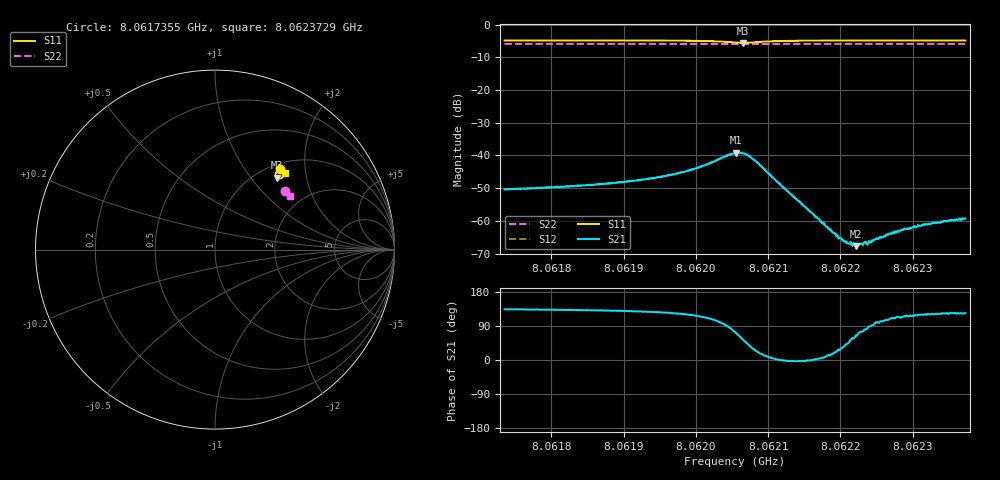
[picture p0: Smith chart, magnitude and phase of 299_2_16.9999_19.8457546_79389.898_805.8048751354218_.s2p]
#  HZ  S  RI  R  50.00
! Rohde & Schwarz Vector Network Analyzer
! Rohde-Schwarz,ZNB20-2Port,1311601062101988,3.16
! Created: UTC 3/20/2024, 11:05:26 PM
! freq[Hz]  re:S11  im:S11  re:S21  im:S21  re:S12  im:S12  re:S22  im:S22
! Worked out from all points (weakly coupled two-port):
!   401 points, 8.0617355 GHz to 8.0623729 GHz, reference 50 ohm
!   highest |S21| = -39.10 dB at 8.0620558 GHz (marker M1); lowest = -67.8 dB at 8.0622215 GHz (marker M2)
!   lowest |S11| = -5.5 dB at 8.0620654 GHz (marker M3), VSWR 3.25, Z = 61 + j68 ohm
!   |S11| at or under -10 dB: nowhere
!   |S22| runs from -5.9 to -5.8 dB; largest |S21 - S12| = 0.00082
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8.06173549e9  0.3603 0.4492  -0.00209 0.00219  -0.00201 0.00231  0.3923 0.3276
8.06184226e9  0.3678 0.4428  -0.00229 0.0026  -0.00218 0.00273  0.3963 0.3222
8.06189803e9  0.372 0.4385  -0.00246 0.00301  -0.00234 0.00317  0.3984 0.3195
8.06194903e9  0.3763 0.4332  -0.00276 0.00376  -0.00255 0.00398  0.4002 0.3168
8.06200002e9  0.3808 0.4226  -0.00287 0.00565  -0.00255 0.00587  0.4021 0.3138
8.0620542e9  0.36 0.3958  0.003 0.0105  0.00374 0.0105  0.4026 0.3103
8.0620558e9  0.3579 0.3959  0.00372 0.0104  0.0042 0.0102  0.4027 0.3103
8.06206536e9  0.3449 0.4014  0.00634 0.0087  0.00698 0.00841  0.4025 0.3103
8.06207333e9  0.3386 0.4113  0.00767 0.00623  0.00818 0.00575  0.4025 0.3106
8.06208448e9  0.339 0.4251  0.00733 0.00304  0.00748 0.00255  0.4031 0.3107
8.06212113e9  0.3573 0.4394  0.00324 -7.55e-05  0.00325 -0.000239  0.4055 0.3093
8.06216097e9  0.3681 0.4383  0.00131 5.5e-06  0.00135 -8.7e-05  0.4073 0.3072
8.06220081e9  0.3742 0.4357  0.00047 0.000276  0.000481 0.000227  0.4087 0.3052
8.06220719e9  0.3749 0.4353  0.000354 0.000314  0.000391 0.000257  0.409 0.3048
8.06221356e9  0.3756 0.4348  0.00027 0.000351  0.000343 0.000353  0.4092 0.3044
8.06222153e9  0.3765 0.4343  0.000173 0.000371  0.000223 0.000394  0.4096 0.3041
8.0622279e9  0.3771 0.4339  0.000119 0.000431  0.000171 0.00042  0.4099 0.3036
8.06223906e9  0.3784 0.4333  1.42e-05 0.000467  2.17e-05 0.000488  0.4102 0.3031
8.06226774e9  0.3809 0.4316  -0.0002 0.000611  -0.000159 0.00064  0.4114 0.3018
8.06228687e9  0.3825 0.4303  -0.000297 0.000672  -0.000241 0.000701  0.412 0.3008
8.06231077e9  0.3842 0.429  -0.000413 0.000723  -0.000346 0.000764  0.4128 0.2996
8.06237292e9  0.3885 0.4254  -0.000609 0.0009  -0.000562 0.000947  0.4151 0.2963
